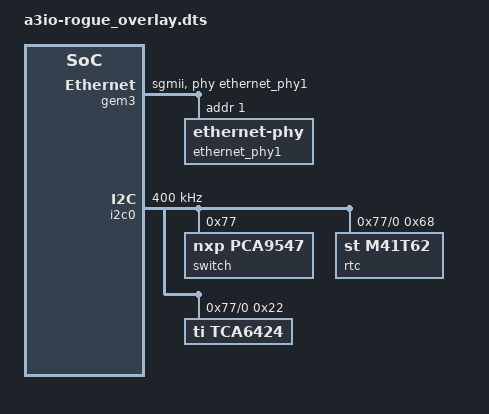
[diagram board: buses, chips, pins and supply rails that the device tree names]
/dts-v1/;
/plugin/;

#include <dt-bindings/input/input.h>
#include <dt-bindings/gpio/gpio.h>
#include <dt-bindings/pinctrl/pinctrl-zynqmp.h>
#include <dt-bindings/phy/phy.h>

&gem0 {
    status = "disabled";
};

&gem1 {
    status = "disabled";
};

&gem2 {
    status = "disabled";
};

&gem3 {
    status = "okay";
    index = <0>; /* Use eth0 */
    phy-handle = <&ethernet_phy1>;
    phy-mode = "sgmii";
    is-internal-pcspma = "true";
    ethernet_phy1: ethernet-phy@1 {
        reg = <1>;
    };
};

// disabled Zynqmp RTC, conflicts with m41t62 RTC
&rtc {
    status = "disabled";
};

&i2c0 {
    status = "okay";
    clock-frequency = <400000>;

    switch@77 {
        compatible = "nxp,pca9547";
        #address-cells = <1>;
        #size-cells = <0>;
        reg = <0x77>;

        i2c@0 {
            #address-cells = <1>;
            #size-cells = <0>;
            reg = <0>;

            rtc@68 {
                compatible = "st,m41t62";
                reg = <0x68>;
            };

            tca6424@22 {
                compatible = "ti,tca6424";
                reg = <0x22>;
                gpio-controller;
                #gpio-cells = <0x02>;
                gpio-line-names =
                    "GA0", "GA1", "PRSNT_M2C#", "PG_M2C",
                    "PG_C2M", "TEMP_INT#", "RTC_IRQ#", "SW_RESET#",
                    "SFP1_MOD_ABS", "SFP1_RX_LOS", "SFP1_RATE_SEL0", "SFP1_RATE_SEL1",
                    "SFP2_MOD_ABS", "SFP2_RX_LOS", "SFP2_RATE_SEL0", "SFP2_RATE_SEL1",
                    "SFP3_MOD_ABS", "SFP3_RX_LOS", "SFP3_RATE_SEL0", "SFP3_RATE_SEL1",
                    "SFP4_MOD_ABS", "SFP4_RX_LOS", "SFP4_RATE_SEL0", "SFP4_RATE_SEL1";
            };
        };
    };
};
